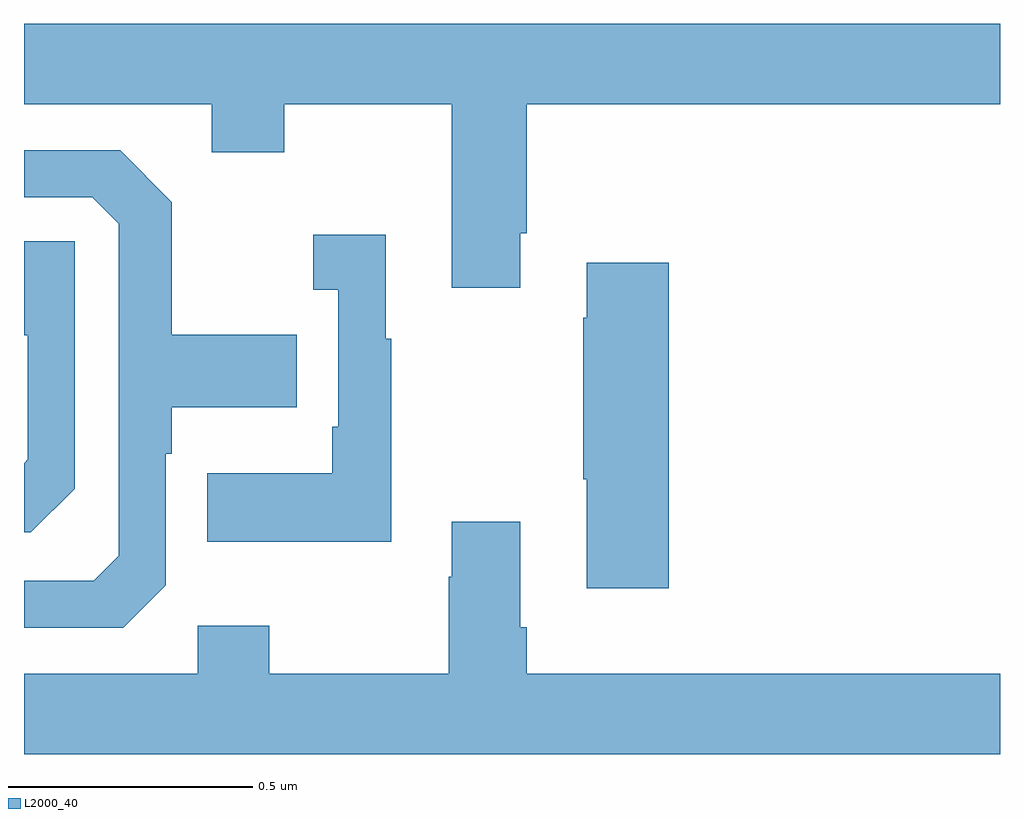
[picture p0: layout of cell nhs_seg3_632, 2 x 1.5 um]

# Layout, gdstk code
import gdstk
lib = gdstk.Library(unit=1e-6, precision=1e-09)
def P(c, l, *ps):  # polygons
    for p in ps: c.add(gdstk.Polygon(p, *l))
L2000_40 = (2000, 40)

nhs_seg3_632 = lib.new_cell('nhs_seg3_632')
P(nhs_seg3_632, L2000_40, [(119.017,732.619),(119.03,732.619),(119.03,732.884),(120,732.884),(120,733.048),(118,733.048),(118,732.884),(118.385,732.884),(118.385,732.785),(118.533,732.785),(118.533,732.884),(118.877,732.884),(118.877,732.507),(119.017,732.507)],
  [(118.29,731.898),(118.29,732.167),(118.303,732.167),(118.303,732.263),(118.559,732.263),(118.559,732.411),(118.303,732.411),(118.303,732.683),(118.197,732.789),(118,732.789),(118,732.693),(118.14,732.693),(118.194,732.639),(118.194,731.958),(118.143,731.907),(118,731.907),(118,731.811),(118.203,731.811)],
  [(118.753,732.403),(118.741,732.403),(118.741,732.616),(118.593,732.616),(118.593,732.503),(118.644,732.503),(118.644,732.223),(118.632,732.223),(118.632,732.127),(118.375,732.127),(118.375,731.987),(118.753,731.987)],
  [(118.104,732.096),(118.104,732.603),(118,732.603),(118,732.41),(118.008,732.41),(118.008,732.156),(118,732.148),(118,732.006),(118.014,732.006)],
  [(119.321,732.559),(119.153,732.559),(119.153,732.446),(119.146,732.446),(119.146,732.115),(119.153,732.115),(119.153,731.892),(119.321,731.892)],
  [(120,731.716),(119.03,731.716),(119.03,731.812),(119.017,731.812),(119.017,732.028),(118.877,732.028),(118.877,731.915),(118.87,731.915),(118.87,731.716),(118.503,731.716),(118.503,731.815),(118.356,731.815),(118.356,731.716),(118,731.716),(118,731.552),(120,731.552)])

lib.write_gds('nhs_seg3_632.gds')
